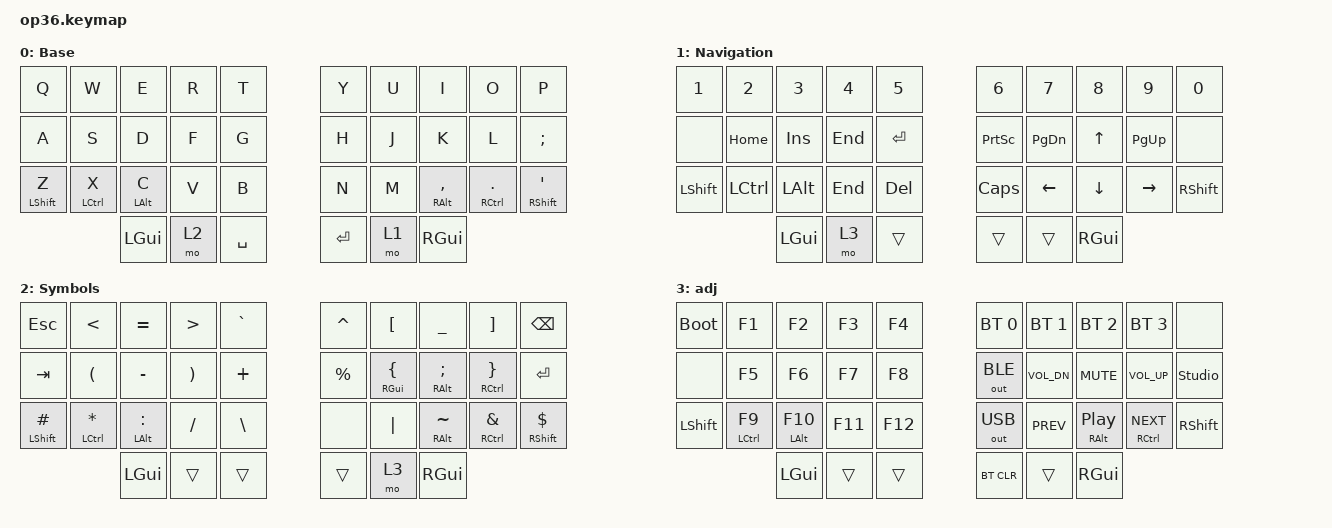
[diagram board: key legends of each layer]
#include "keys_ru.h"
#include <behaviors.dtsi>
#include <dt-bindings/zmk/bt.h>
#include <dt-bindings/zmk/keys.h>
#include <dt-bindings/zmk/outputs.h>

&mt {
    quick-tap-ms = <200>;
    flavor = "tap-preferred";
    require-prior-idle-ms = <125>;
};

/ {
    behaviors {
        hml: home_row_mod_left {
            compatible = "zmk,behavior-hold-tap";
            #binding-cells = <2>;
            flavor = "balanced";
            require-prior-idle-ms = <150>;
            tapping-term-ms = <280>;
            quick-tap-ms = <175>;
            bindings = <&kp>, <&kp>;

            hold-trigger-key-positions = <5 6 7 8 9 15 16 17 18 19 25 26 27 28 29 33 34 35>;
            hold-trigger-on-release;
        };

        hmr: home_row_mod_right {
            compatible = "zmk,behavior-hold-tap";
            #binding-cells = <2>;
            flavor = "balanced";
            require-prior-idle-ms = <150>;
            tapping-term-ms = <280>;
            quick-tap-ms = <175>;
            bindings = <&kp>, <&kp>;

            hold-trigger-key-positions = <0 1 2 3 4 10 11 12 13 14 20 21 22 23 24 30 31 32>;
            hold-trigger-on-release;
        };
    };

    combos {
        compatible = "zmk,combos";

        kha {
            bindings = <&kp LBKT>;
            key-positions = <6 7>;
        };

        hrdsgn {
            bindings = <&kp RBKT>;
            key-positions = <7 8>;
        };
    };

    keymap {
        compatible = "zmk,keymap";

        base {
            bindings = <
  &kp Q          &kp W         &kp E        &kp R     &kp T                          &kp Y  &kp U     &kp I            &kp O           &kp P
  &kp A          &kp S         &kp D        &kp F     &kp G                          &kp H  &kp J     &kp K            &kp L           &kp SEMI
  &hmr LSHIFT Z  &hmr LCTRL X  &hmr LALT C  &kp V     &kp B                          &kp N  &kp M     &hmr RALT COMMA  &hmr RCTRL DOT  &hmr RSHIFT SQT
                                            &kp LGUI  &mo 2  &kp SPACE    &kp ENTER  &mo 1  &kp RGUI
            >;

            display-name = "Base";
        };

        nav {
            bindings = <
  &kp N1      &kp N2     &kp N3    &kp N4    &kp N5                        &kp N6           &kp N7         &kp N8    &kp N9     &kp N0
  &none       &kp HOME   &kp INS   &kp END   &kp ENTER                     &kp PRINTSCREEN  &kp PAGE_DOWN  &kp UP    &kp PG_UP  &none
  &kp LSHIFT  &kp LCTRL  &kp LALT  &kp END   &kp DELETE                    &kp CAPS         &kp LEFT       &kp DOWN  &kp RIGHT  &kp RSHIFT
                                   &kp LGUI  &mo 3       &trans    &trans  &trans           &kp RGUI
            >;

            display-name = "Navigation";
        };

        sym {
            bindings = <
  &kp ESC           &kp LT           &kp EQUAL        &kp GT    &kp GRAVE                    &kp CARET  &kp LBKT        &kp UNDER        &kp RBKT         &kp BACKSPACE
  &kp TAB           &kp LPAR         &kp MINUS        &kp RPAR  &kp PLUS                     &kp PRCNT  &hmr RGUI LBRC  &hmr RALT SEMI   &hmr RCTRL RBRC  &kp ENTER
  &hmr LSHIFT HASH  &hmr LCTRL STAR  &hmr LALT COLON  &kp FSLH  &kp BSLH                     &none      &kp PIPE        &hmr RALT TILDE  &hmr RCTRL AMPS  &hmr RSHIFT DLLR
                                                      &kp LGUI  &trans     &trans    &trans  &mo 3      &kp RGUI
            >;

            display-name = "Symbols";
        };

        adj {
            bindings = <
  &bootloader  &kp F1         &kp F2         &kp F3    &kp F4                         &bt BT_SEL 0  &bt BT_SEL 1  &bt BT_SEL 2    &bt BT_SEL 3       &none
  &none        &kp F5         &kp F6         &kp F7    &kp F8                         &out OUT_BLE  &kp C_VOL_DN  &kp C_MUTE      &kp C_VOLUME_UP    &studio_unlock
  &kp LSHIFT   &hmr LCTRL F9  &hmr LALT F10  &kp F11   &kp F12                        &out OUT_USB  &kp C_PREV    &hmr RALT C_PP  &hmr RCTRL C_NEXT  &kp RSHIFT
                                             &kp LGUI  &trans   &trans    &bt BT_CLR  &trans        &kp RGUI
            >;
        };
    };
};
